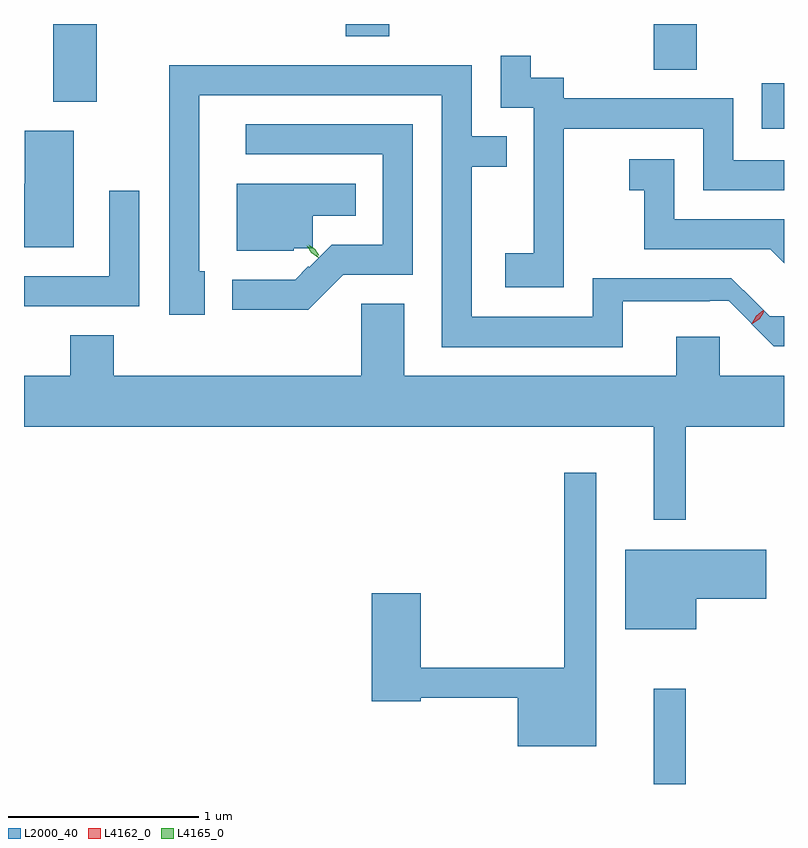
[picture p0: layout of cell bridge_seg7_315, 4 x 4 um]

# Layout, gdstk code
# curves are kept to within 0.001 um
import gdstk
lib = gdstk.Library(unit=1e-6, precision=1e-09)
def R(c, l, rs):  # rectangles x0, y0, x1, y1
    for r in rs: c.add(gdstk.rectangle(r[:2], r[2:], *l))
def P(c, l, *ps):  # polygons
    for p in ps: c.add(gdstk.Polygon(p, *l))
L2000_40 = (2000, 40)
L4162_0 = (4162, 0)
L4165_0 = (4165, 0)

bridge_seg7_315 = lib.new_cell('bridge_seg7_315')
R(bridge_seg7_315, L2000_40, [(1187.631,1794.576,1187.799,1795.078), (1188.201,1798.026,1188.317,1798.263), (1184.471,1798.166,1184.699,1798.576), (1187.631,1798.336,1187.859,1798.576), (1186.011,1798.511,1186.239,1798.576)])
P(bridge_seg7_315, L2000_40, [(1187.159,1798.026),(1187.891,1798.026),(1187.891,1797.701),(1188.317,1797.701),(1188.317,1797.859),(1188.049,1797.859),(1188.049,1798.184),(1187.159,1798.184),(1187.159,1798.294),(1186.984,1798.294),(1186.984,1798.408),(1186.826,1798.408),(1186.826,1798.136),(1187.001,1798.136),(1187.001,1797.369),(1186.851,1797.369),(1186.851,1797.191),(1187.159,1797.191)],
  [(1187.469,1797.118),(1188.025,1797.119),(1188.263,1796.881),(1188.317,1796.881),(1188.317,1797.038),(1188.242,1797.038),(1188.039,1797.239),(1187.311,1797.239),(1187.311,1797.034),(1186.674,1797.034),(1186.674,1797.826),(1186.858,1797.826),(1186.858,1797.984),(1186.674,1797.984),(1186.674,1798.359),(1185.081,1798.359),(1185.081,1797.046),(1185.269,1797.046),(1185.269,1797.274),(1185.239,1797.274),(1185.239,1798.201),(1186.516,1798.201),(1186.516,1796.876),(1187.469,1796.876)],
  [(1185.997,1797.256),(1186.364,1797.256),(1186.364,1798.049),(1185.483,1798.049),(1185.483,1797.891),(1186.206,1797.891),(1186.206,1797.414),(1185.938,1797.414),(1185.819,1797.295),(1185.814,1797.3),(1185.744,1797.229),(1185.414,1797.229),(1185.414,1797.071),(1185.812,1797.071)],
  [(1184.579,1798.014),(1184.321,1798.014),(1184.321,1797.734),(1184.317,1797.734),(1184.317,1797.401),(1184.579,1797.401)],
  [(1188.317,1797.549),(1187.739,1797.549),(1187.739,1797.864),(1187.503,1797.864),(1187.503,1797.701),(1187.581,1797.701),(1187.581,1797.391),(1188.244,1797.391),(1188.317,1797.318)],
  [(1185.738,1797.396),(1185.838,1797.396),(1185.838,1797.566),(1186.063,1797.566),(1186.063,1797.734),(1185.436,1797.734),(1185.436,1797.382),(1185.738,1797.382)],
  [(1184.924,1797.698),(1184.766,1797.698),(1184.766,1797.249),(1184.317,1797.249),(1184.317,1797.091),(1184.924,1797.091)],
  [(1187.799,1796.456),(1188.317,1796.456),(1188.317,1796.724),(1187.979,1796.724),(1187.979,1796.929),(1187.751,1796.929),(1187.751,1796.724),(1186.319,1796.724),(1186.319,1797.104),(1186.091,1797.104),(1186.091,1796.724),(1184.789,1796.724),(1184.789,1796.939),(1184.561,1796.939),(1184.561,1796.724),(1184.317,1796.724),(1184.317,1796.456),(1187.631,1796.456),(1187.631,1795.968),(1187.799,1795.968)],
  [(1187.329,1796.213),(1187.161,1796.213),(1187.161,1795.189),(1186.404,1795.189),(1186.404,1795.579),(1186.146,1795.579),(1186.146,1795.011),(1186.404,1795.011),(1186.404,1795.031),(1186.916,1795.031),(1186.916,1794.776),(1187.329,1794.776)],
  [(1187.854,1795.551),(1188.224,1795.551),(1188.224,1795.809),(1187.481,1795.809),(1187.481,1795.391),(1187.854,1795.391)])
P(bridge_seg7_315, L4162_0, [(1188.148,1796.998),(1188.148,1796.999),(1188.171,1797.04),(1188.209,1797.069),(1188.21,1797.069),(1188.21,1797.068),(1188.186,1797.027),(1188.149,1796.998)],
  [(1188.154,1797.001),(1188.154,1797.002),(1188.175,1797.038),(1188.209,1797.061),(1188.21,1797.061),(1188.21,1797.06),(1188.189,1797.024),(1188.155,1797.001)])
P(bridge_seg7_315, L4165_0, [(1185.866,1797.347),(1185.829,1797.372),(1185.805,1797.41),(1185.805,1797.41),(1185.806,1797.41),(1185.843,1797.386),(1185.867,1797.347),(1185.867,1797.347)],
  [(1185.871,1797.355),(1185.836,1797.378),(1185.815,1797.414),(1185.815,1797.414),(1185.816,1797.414),(1185.851,1797.391),(1185.872,1797.356),(1185.872,1797.355)])

lib.write_gds('bridge_seg7_315.gds')
